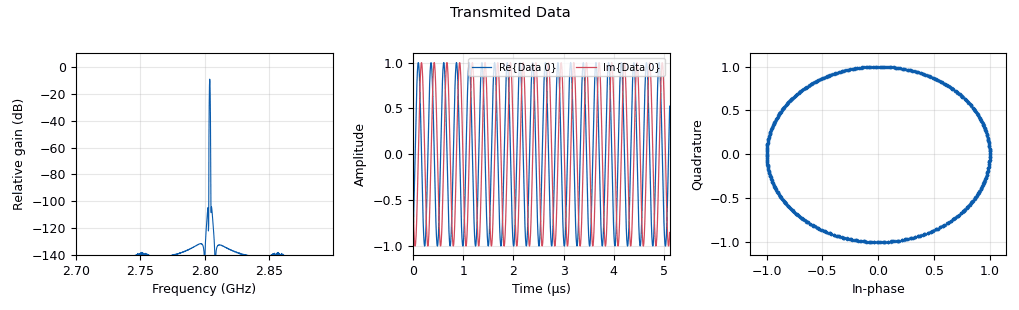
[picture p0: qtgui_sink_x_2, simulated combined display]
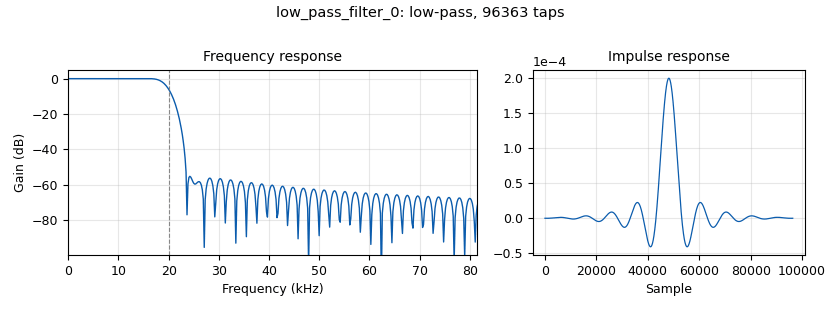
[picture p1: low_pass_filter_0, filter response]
options:
  parameters:
    generate_options: qt_gui
    id: FMCW
    output_language: python
    title: FMCW
  states: {}

blocks:
- name: pi
  id: variable
  parameters:
    value: '3.14159'
  states: {}
- name: range_val
  id: variable_qtgui_range
  parameters:
    start: '0'
    step: '0.01'
    stop: '1'
    value: '0.5'
  states: {}
- name: samp_rate
  id: variable
  parameters:
    value: 200e6
  states: {}
- name: analog_sig_source_x_0
  id: analog_sig_source_x
  parameters:
    amp: '1'
    freq: '1000'
    offset: '0'
    phase: '0'
    samp_rate: samp_rate
    type: float
    waveform: analog.GR_SAW_WAVE
  states: {}
- name: blocks_file_sink_0
  id: blocks_file_sink
  parameters:
    file: beat_signal.bin
    type: complex
    unbuffered: 'True'
  states: {}
- name: blocks_multiply_conjugate_cc_0
  id: blocks_multiply_conjugate_cc
  parameters: {}
  states: {}
- name: blocks_skiphead_0
  id: blocks_skiphead
  parameters:
    num_items: '1000'
    type: complex
  states: {}
- name: blocks_vco_c_0
  id: blocks_vco_c
  parameters:
    amplitude: '1'
    samp_rate: samp_rate
    sensitivity: 50E6
  states: {}
- name: low_pass_filter_0
  id: low_pass_filter
  parameters:
    cutoff_freq: '20000'
    decim: '1'
    gain: '1'
    samp_rate: samp_rate
    type: fir_filter_ccf
    width: '5000'
    win: window.WIN_HAMMING
  states: {}
- name: qtgui_freq_sink_x_0
  id: qtgui_freq_sink_x
  parameters:
    bw: samp_rate
    ctrlpanel: 'True'
    fc: 2.8e9
    fftsize: '1024'
    name: '"RX Frequency"'
    type: complex
  states: {}
- name: qtgui_sink_x_0
  id: qtgui_sink_x
  parameters:
    bw: samp_rate
    fc: '0'
    fftsize: '1024'
    name: '"R/X"'
    type: complex
  states: {}
- name: qtgui_sink_x_1
  id: qtgui_sink_x
  parameters:
    bw: samp_rate
    fc: '0'
    fftsize: '1024'
    name: '"Received"'
    type: complex
  states: {}
- name: qtgui_sink_x_2
  id: qtgui_sink_x
  parameters:
    bw: samp_rate
    fc: 2.8e9
    fftsize: '1024'
    name: '"Transmited Data"'
    type: complex
  states: {}
- name: qtgui_time_sink_x_0
  id: qtgui_time_sink_x
  parameters:
    ctrlpanel: 'True'
    name: '"R/X Time Domain"'
    size: '1024'
    srate: samp_rate
    type: complex
  states: {}
- name: uhd_usrp_sink_0
  id: uhd_usrp_sink
  parameters:
    ant0: '"TX/RX"'
    bw0: 200e6
    center_freq0: 2.8e9
    gain0: '20'
    samp_rate: samp_rate
    sync: sync
    type: fc32
  states: {}
- name: uhd_usrp_source_0
  id: uhd_usrp_source
  parameters:
    ant0: '"RX2"'
    bw0: 200e6
    center_freq0: 2.8e9
    gain0: '31.5'
    samp_rate: samp_rate
    sync: sync
    type: fc32
  states: {}

connections:
- [analog_sig_source_x_0, '0', blocks_vco_c_0, '0']
- [blocks_multiply_conjugate_cc_0, '0', low_pass_filter_0, '0']
- [blocks_skiphead_0, '0', blocks_file_sink_0, '0']
- [blocks_skiphead_0, '0', qtgui_freq_sink_x_0, '0']
- [blocks_skiphead_0, '0', qtgui_sink_x_0, '0']
- [blocks_skiphead_0, '0', qtgui_time_sink_x_0, '0']
- [blocks_vco_c_0, '0', blocks_multiply_conjugate_cc_0, '0']
- [blocks_vco_c_0, '0', qtgui_sink_x_2, '0']
- [blocks_vco_c_0, '0', uhd_usrp_sink_0, '0']
- [low_pass_filter_0, '0', blocks_skiphead_0, '0']
- [uhd_usrp_source_0, '0', blocks_multiply_conjugate_cc_0, '1']
- [uhd_usrp_source_0, '0', qtgui_sink_x_1, '0']

metadata:
  file_format: 1
  grc_version: 3.10.9.2
